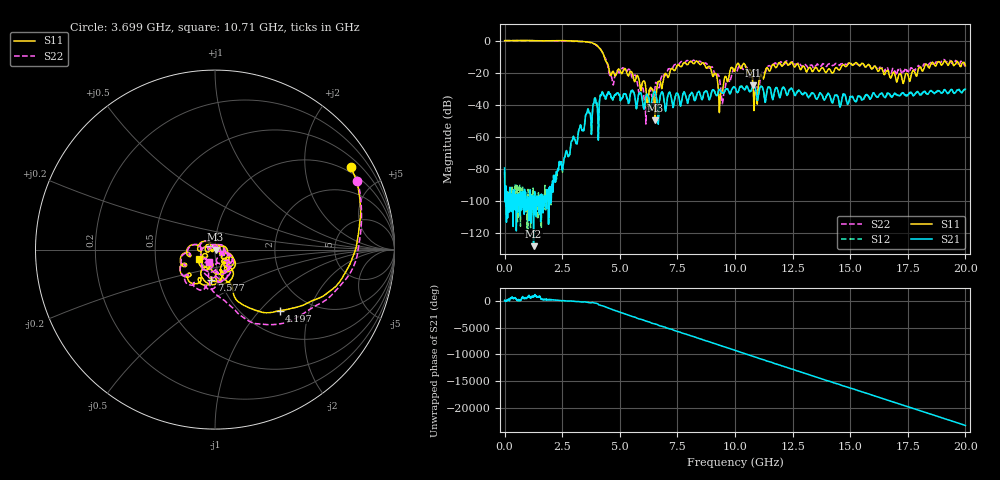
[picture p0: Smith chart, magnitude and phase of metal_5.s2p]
#  HZ  S  RI  R  50.00
! Rohde & Schwarz Vector Network Analyzer
! Rohde-Schwarz,ZNB20-2Port,1311601062102128,3.60
! Created: UTC 4/29/2024, 3:48:40 PM
! freq[Hz]  re:S11  im:S11  re:S21  im:S21  re:S12  im:S12  re:S22  im:S22
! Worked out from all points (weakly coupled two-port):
!   2007 points, 100 kHz to 20 GHz, reference 50 ohm
!   highest |S21| = -27.80 dB at 10.8 GHz (marker M1); lowest = -127.9 dB at 1.256 GHz (marker M2)
!   lowest |S11| = -49.5 dB at 6.53 GHz (marker M3), VSWR 1.01, Z = 50.3 - j0.109 ohm
!   |S11| at or under -10 dB: 4.327 GHz to end of sweep
!   |S22| runs from -51.9 to 0.1 dB; largest |S21 - S12| = 0.0021
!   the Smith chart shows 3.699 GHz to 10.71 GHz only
!   S11 on the Smith chart (normalised r, x): 3.699 GHz: 0.78, +3.38; 4.197 GHz: 1.44, -1.30; 7.577 GHz: 0.91, -0.31; 10.71 GHz: 0.83, -0.09
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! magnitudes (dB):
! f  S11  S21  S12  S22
! 100 kHz  0.0  -79.3  -81.7  0.1
! 1.256 GHz  0.0  -127.9  -97.6  -0.1
! 2.253 GHz  0.0  -81.8  -86.3  -0.3
! 3.34 GHz  -0.6  -55.2  -54.9  -0.6
! 3.699 GHz  -1.0  -45.1  -45.0  -1.1
! 4.197 GHz  -6.1  -33.8  -34.2  -6.1
! 4.646 GHz  -20.6  -35.3  -35.4  -22.8
! 5.394 GHz  -21.5  -38.7  -38.7  -17.8
! 6.132 GHz  -29.8  -34.6  -34.6  -51.9
! 6.53 GHz  -49.5  -31.8  -31.9  -28.4
! 6.67 GHz  -25.5  -52.0  -51.5  -27.9
! 7.577 GHz  -15.5  -36.6  -36.5  -14.4
! 8.883 GHz  -16.0  -36.7  -36.8  -17.1
! 9.372 GHz  -33.5  -31.1  -31.2  -28.4
! 10 GHz  -18.6  -29.2  -29.4  -18.0
! 10.71 GHz  -19.6  -30.8  -30.6  -22.5
! 10.8 GHz  -32.5  -27.8  -27.7  -24.8
! 10.91 GHz  -32.0  -31.3  -31.4  -31.5
! 11.66 GHz  -14.8  -35.9  -35.9  -14.9
! 13.34 GHz  -19.0  -32.6  -32.5  -15.2
! 16.67 GHz  -19.9  -32.9  -33.0  -19.5
! 20 GHz  -15.8  -30.3  -30.3  -14.8
